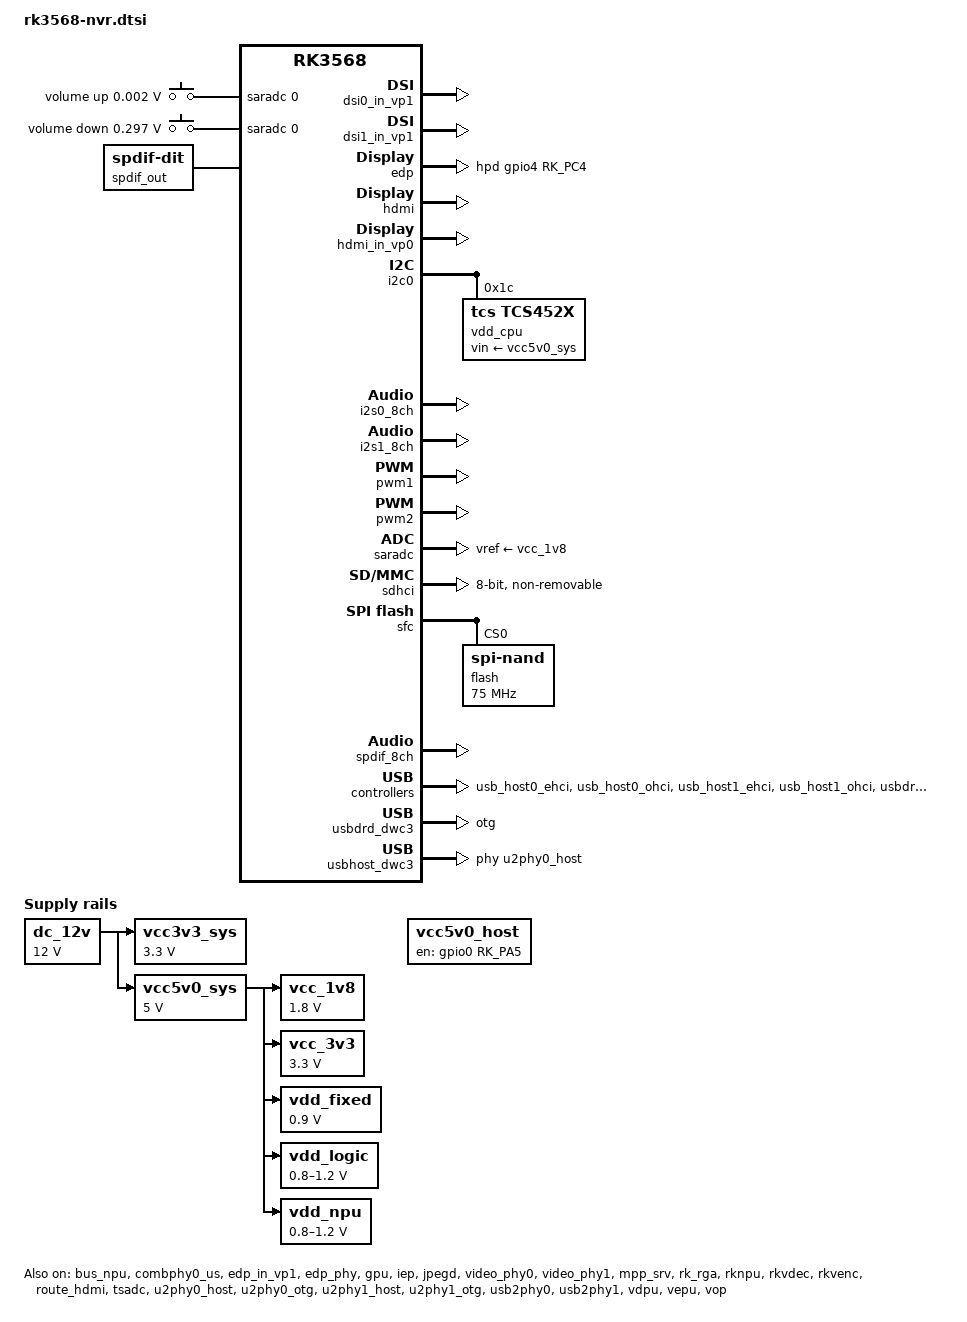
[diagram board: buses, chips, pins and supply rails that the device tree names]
// SPDX-License-Identifier: (GPL-2.0+ OR MIT)
/*
 * Copyright (c) 2020 Rockchip Electronics Co., Ltd.
 *
 */

#include "rk3568.dtsi"
#include <dt-bindings/gpio/gpio.h>
#include <dt-bindings/pinctrl/rockchip.h>
#include <dt-bindings/input/rk-input.h>
#include <dt-bindings/display/drm_mipi_dsi.h>
#include <dt-bindings/sensor-dev.h>

/ {
	adc_keys: adc-keys {
		compatible = "adc-keys";
		io-channels = <&saradc 0>;
		io-channel-names = "buttons";
		keyup-threshold-microvolt = <1800000>;
		poll-interval = <100>;

		vol-up-key {
			label = "volume up";
			linux,code = <KEY_VOLUMEUP>;
			press-threshold-microvolt = <1750>;
		};

		vol-down-key {
			label = "volume down";
			linux,code = <KEY_VOLUMEDOWN>;
			press-threshold-microvolt = <297500>;
		};
	};

	dc_12v: dc-12v {
		compatible = "regulator-fixed";
		regulator-name = "dc_12v";
		regulator-always-on;
		regulator-boot-on;
		regulator-min-microvolt = <12000000>;
		regulator-max-microvolt = <12000000>;
	};

	hdmi_sound: hdmi-sound {
		compatible = "simple-audio-card";
		simple-audio-card,format = "i2s";
		simple-audio-card,mclk-fs = <128>;
		simple-audio-card,name = "hdmi-sound";
		status = "okay";

		simple-audio-card,cpu {
				sound-dai = <&i2s0_8ch>;
		};
		simple-audio-card,codec {
				sound-dai = <&hdmi>;
		};
	};

	reserved-memory {
		#address-cells = <2>;
		#size-cells = <2>;
		ranges;

		rknpu_reserved: rknpu {
			compatible = "shared-dma-pool";
			inactive;
			reusable;
			size = <0x0 0x20000000>;
			alignment = <0x0 0x1000>;
		};
	};

	spdif-sound {
		status = "okay";
		compatible = "simple-audio-card";
		simple-audio-card,name = "ROCKCHIP,SPDIF";
		simple-audio-card,cpu {
				sound-dai = <&spdif_8ch>;
		};
		simple-audio-card,codec {
				sound-dai = <&spdif_out>;
		};
	};

	spdif_out: spdif-out {
			status = "okay";
			compatible = "linux,spdif-dit";
			#sound-dai-cells = <0>;
	};

	vcc3v3_sys: vcc3v3-sys {
		compatible = "regulator-fixed";
		regulator-name = "vcc3v3_sys";
		regulator-always-on;
		regulator-boot-on;
		regulator-min-microvolt = <3300000>;
		regulator-max-microvolt = <3300000>;
		vin-supply = <&dc_12v>;
	};

	vcc5v0_sys: vcc5v0-sys {
		compatible = "regulator-fixed";
		regulator-name = "vcc5v0_sys";
		regulator-always-on;
		regulator-boot-on;
		regulator-min-microvolt = <5000000>;
		regulator-max-microvolt = <5000000>;
		vin-supply = <&dc_12v>;
	};

	vcc5v0_host: vcc5v0-host-regulator {
		compatible = "regulator-fixed";
		enable-active-high;
		gpio = <&gpio0 RK_PA5 GPIO_ACTIVE_HIGH>;
		pinctrl-names = "default";
		pinctrl-0 = <&vcc5v0_host_en>;
		regulator-name = "vcc5v0_host";
		regulator-always-on;
	};

	vcc_1v8: vcc_1v8 {
		compatible = "regulator-fixed";
		regulator-name = "vcc_1v8";
		regulator-always-on;
		regulator-boot-on;
		regulator-min-microvolt = <1800000>;
		regulator-max-microvolt = <1800000>;
		vin-supply = <&vcc5v0_sys>;
	};

	vcc_3v3: vcc_3v3{
		compatible = "regulator-fixed";
		regulator-name = "vcc_3v3";
		regulator-always-on;
		regulator-boot-on;
		regulator-min-microvolt = <3300000>;
		regulator-max-microvolt = <3300000>;
		vin-supply = <&vcc5v0_sys>;
	};

	vdd_fixed: vdd-fixed {
		compatible = "regulator-fixed";
		regulator-name = "vdd_fixed";
		regulator-min-microvolt = <900000>;
		regulator-max-microvolt = <900000>;
		regulator-always-on;
		regulator-boot-on;
		vin-supply = <&vcc5v0_sys>;
	};

	vdd_logic: vdd-logic {
		compatible = "pwm-regulator";
		pwms = <&pwm1 0 5000 1>;
		regulator-name = "vdd_logic";
		regulator-min-microvolt = <800000>;
		regulator-max-microvolt = <1200000>;
		regulator-init-microvolt = <900000>;
		regulator-always-on;
		regulator-boot-on;
		regulator-settling-time-up-us = <250>;
		pwm-supply = <&vcc5v0_sys>;
		status = "okay";
	};

	vdd_npu: vdd-npu {
		compatible = "pwm-regulator";
		pwms = <&pwm2 0 5000 1>;
		regulator-name = "vdd_npu";
		regulator-min-microvolt = <800000>;
		regulator-max-microvolt = <1200000>;
		regulator-init-microvolt = <950000>;
		regulator-always-on;
		regulator-boot-on;
		regulator-settling-time-up-us = <250>;
		pwm-supply = <&vcc5v0_sys>;
		status = "okay";
	};
};

&bus_npu {
	bus-supply = <&vdd_logic>;
	pvtm-supply = <&vdd_cpu>;
	status = "okay";
};

&combphy0_us {
	status = "okay";
};

&cpu0 {
	cpu-supply = <&vdd_cpu>;
};

&cpu0_opp_table {
	/delete-node/ opp-1992000000;
};

&CPU_SLEEP {
	status = "disabled";
};

&dsi0_in_vp0 {
	status = "disabled";
};

&dsi0_in_vp1 {
	status = "okay";
};

&dsi1_in_vp0 {
	status = "disabled";
};

&dsi1_in_vp1 {
	status = "okay";
};

&edp {
	hpd-gpios = <&gpio4 RK_PC4 GPIO_ACTIVE_HIGH>;
	status = "okay";
};

&edp_in_vp0 {
	status = "disabled";
};

&edp_in_vp1 {
	status = "okay";
};

&edp_phy {
	status = "okay";
};

&gpu {
	mali-supply = <&vdd_fixed>;
	status = "okay";
};

&gpu_opp_table {
	/delete-node/ opp-800000000;
};

&hdmi {
	skip-check-420-mode;
	status = "okay";
};

&hdmi_in_vp0 {
	status = "okay";
};

&hdmi_in_vp1 {
	status = "disabled";
};

&i2c0 {
	status = "okay";

	vdd_cpu: tcs4525@1c {
		compatible = "tcs,tcs452x";
		reg = <0x1c>;
		vin-supply = <&vcc5v0_sys>;
		regulator-compatible = "fan53555-reg";
		regulator-name = "vdd_cpu";
		regulator-min-microvolt = <712500>;
		regulator-max-microvolt = <1390000>;
		regulator-init-microvolt = <900000>;
		regulator-ramp-delay = <2300>;
		fcs,suspend-voltage-selector = <1>;
		regulator-boot-on;
		regulator-always-on;
		regulator-state-mem {
			regulator-off-in-suspend;
		};
	};
};

&i2s0_8ch {
	status = "okay";
};

&i2s1_8ch {
	status = "okay";
	rockchip,clk-trcm = <1>;
	pinctrl-names = "default";
	pinctrl-0 = <&i2s1m0_sclktx
		     &i2s1m0_lrcktx
		     &i2s1m0_sdi0
		     &i2s1m0_sdo0>;
};

&iep {
	status = "okay";
};

&iep_mmu {
	status = "okay";
};

&jpegd {
	status = "okay";
};

&jpegd_mmu {
	status = "okay";
};

&video_phy0 {
	status = "okay";
};

&video_phy1 {
	status = "okay";
};

&mpp_srv {
	status = "okay";
};

/* Need to be modified according to the actual hardware */
&pmu_io_domains {
	status = "okay";
	pmuio2-supply = <&vcc_3v3>;
	vccio1-supply = <&vcc_3v3>;
	vccio3-supply = <&vcc_3v3>;
	vccio4-supply = <&vcc_3v3>;
	vccio5-supply = <&vcc_3v3>;
	vccio6-supply = <&vcc_3v3>;
	vccio7-supply = <&vcc_3v3>;
};

&pwm1 {
	status = "okay";
	pinctrl-names = "active";
};

&pwm2 {
	status = "okay";
	pinctrl-names = "active";
};

&rk_rga {
	status = "okay";
};

&rknpu {
	memory-region = <&rknpu_reserved>;
	rknpu-supply = <&vdd_npu>;
	status = "okay";
};

&rknpu_mmu {
	status = "disabled";
};

&rkvdec {
	rockchip,disable-auto-freq;
	assigned-clock-rates = <396000000>, <396000000>, <396000000>, <600000000>;
	status = "okay";
};

&rkvdec_mmu {
	status = "okay";
};

&rkvdec_sram {
	reg = <0x0 0x10000>;
};

&rkvenc {
	status = "okay";
};

&rkvenc_mmu {
	status = "okay";
};

&route_hdmi {
	status = "okay";
	connect = <&vp0_out_hdmi>;
};

&saradc {
	status = "okay";
	vref-supply = <&vcc_1v8>;
};

&sdhci {
	bus-width = <8>;
	no-sdio;
	no-sd;
	non-removable;
	status = "okay";
};

&sfc {
	status = "okay";

	flash@0 {
		compatible = "spi-nand";
		reg = <0>;
		spi-max-frequency = <75000000>;
		spi-rx-bus-width = <4>;
		spi-tx-bus-width = <1>;
	};
};

&spdif_8ch {
	status = "okay";
};

&sram {
	reg = <0x0 0xfdcc0000 0x0 0x10000>;
	ranges = <0x0 0x0 0xfdcc0000 0x10000>;
};

&tsadc {
	status = "okay";
};

&u2phy0_host {
	phy-supply = <&vcc5v0_host>;
	status = "okay";
};

&u2phy0_otg {
	phy-supply = <&vcc5v0_host>;
	status = "okay";
};

&u2phy1_host {
	phy-supply = <&vcc5v0_host>;
	status = "okay";
};

&u2phy1_otg {
	phy-supply = <&vcc5v0_host>;
	status = "okay";
};

&usb2phy0 {
	status = "okay";
};

&usb2phy1 {
	status = "okay";
};

&usb_host0_ehci {
	status = "okay";
};

&usb_host0_ohci {
	status = "okay";
};

&usb_host1_ehci {
	status = "okay";
};

&usb_host1_ohci {
	status = "okay";
};

&usbdrd_dwc3 {
	dr_mode = "otg";
	extcon = <&usb2phy0>;
	status = "okay";
};

&usbdrd30 {
	status = "okay";
};

&usbhost_dwc3 {
	phys = <&u2phy0_host>;
	phy-names = "usb2-phy";
	maximum-speed = "high-speed";
	status = "okay";
};

&usbhost30 {
	status = "okay";
};

&vdpu {
	status = "okay";
};

&vdpu_mmu {
	status = "okay";
};

&vepu {
	status = "okay";
};

&vepu_mmu {
	status = "okay";
};

&vop {
	status = "okay";
	assigned-clocks = <&cru DCLK_VOP1>;
	assigned-clock-parents = <&cru PLL_VPLL>;
};

&vop_mmu {
	status = "okay";
};

&pinctrl {
	usb {
		vcc5v0_host_en: vcc5v0-host-en {
			rockchip,pins = <0 RK_PA5 RK_FUNC_GPIO &pcfg_pull_none>;
		};
	};
};
